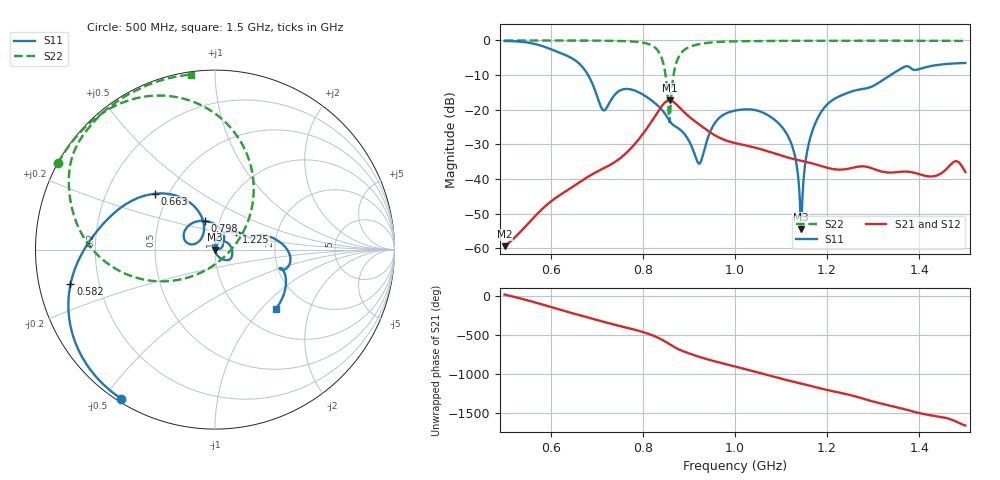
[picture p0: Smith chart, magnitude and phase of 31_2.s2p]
! TOUCHSTONE file generated by CST MICROWAVE STUDIO
! Date and time: Wed Oct 28 19:39:24 2020
! Project name: Scenario_1_Circular_Tissue_out_of_Line_v2.cst
! Parameters = {dy1=173; L_HA=400; MT=2.54; Rad_Dielectric=30; Rad_Lower=7.3; Rad_Upper=30; a_HA=580; a_WG=246; b_HA=500; b_WG=121; c_HA=0; c_WG=187; d_feed=85; dx1=346; h_feed=15; h_lower=18; h_upper=40}
! Header version: 2018
! Port assignment regex: !\s*Touchstone port\s*([0-9]+)\s*=\s*(CST MWS port|CST DS port)\s*([0-9]+|Zmin|Zmax)\s*\(\"(.*)\"\)(\s*mode\s*([0-9]+))?.*
! Touchstone port assignment:
! Touchstone port 1 = CST MWS port 1 ("")
! Touchstone port 2 = CST MWS port 2 ("")
# GHz S DB R 50
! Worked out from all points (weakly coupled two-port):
!   1003 points, 500 MHz to 1.5 GHz, reference 50 ohm
!   highest |S21| = -17.30 dB at 858 MHz (marker M1); lowest = -59.4 dB at 500 MHz (marker M2)
!   lowest |S11| = -54.5 dB at 1.143 GHz (marker M3), VSWR 1.00, Z = 49.8 - j0.109 ohm
!   |S11| at or under -10 dB: 681.2 MHz to 1.337 GHz (656.2 MHz wide, 65 % of centre)
!   |S22| runs from -23.6 to 0.0 dB; largest |S21 - S12| = 0.00013
!   S11 on the Smith chart (normalised r, x): 500 MHz: 0.01, -0.55; 582 MHz: 0.10, -0.12; 663 MHz: 0.42, +0.33; 798 MHz: 0.85, +0.28; 1.225 GHz: 1.24, +0.25; 1.5 GHz: 1.43, -1.21
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0.5  -0.16 -122.2  -59.39 16.4  -59.39 16.4  -0.01 151.1
0.582  -1.64 -166.5  -48.60 -111.3  -48.60 -111.3  -0.02 145.4
0.663  -6.82 136.9  -40.90 111.3  -40.90 111.3  -0.04 138.7
0.667  -7.36 133.0  -40.55 104.7  -40.55 104.7  -0.04 138.3
0.714  -20.14 139.9  -36.99 26.9  -36.99 26.9  -0.08 133.1
0.753  -14.29 154.8  -33.77 -30.0  -33.77 -30.0  -0.17 126.9
0.798  -15.47 109.1  -27.36 -99.9  -27.36 -99.9  -0.60 113.7
0.834  -19.02 70.7  -20.31 -179.0  -20.31 -179.0  -3.21 83.3
0.847  -20.97 55.4  -18.04 139.9  -18.04 139.9  -8.23 56.2
0.858  -23.20 46.0  -17.30 99.7  -17.30 99.7  -23.61 -60.8
0.878  -25.44 34.9  -19.14 34.7  -19.14 34.7  -4.71 -170.6
0.922  -35.59 36.3  -24.22 -60.3  -24.22 -60.3  -1.09 157.2
0.957  -23.70 45.4  -27.43 -120.1  -27.43 -120.1  -0.49 147.7
1  -20.27 -7.3  -29.63 175.7  -29.63 175.7  -0.26 140.2
1.106  -25.70 -59.9  -33.47 10.7  -33.47 10.7  -0.12 129.2
1.129  -32.74 -74.2  -34.30 -22.9  -34.30 -22.9  -0.11 127.2
1.143  -54.52 -144.5  -34.73 -43.4  -34.73 -43.4  -0.10 126.1
1.155  -33.23 98.1  -35.09 -61.2  -35.09 -61.2  -0.10 125.1
1.167  -26.50 86.4  -35.48 -79.1  -35.48 -79.0  -0.10 124.2
1.225  -16.22 39.3  -37.29 -157.3  -37.29 -157.3  -0.08 119.7
1.334  -10.29 14.0  -38.14 38.1  -38.14 38.1  -0.08 111.5
1.5  -6.51 -44.1  -38.01 140.3  -38.00 140.2  -0.13 97.9
